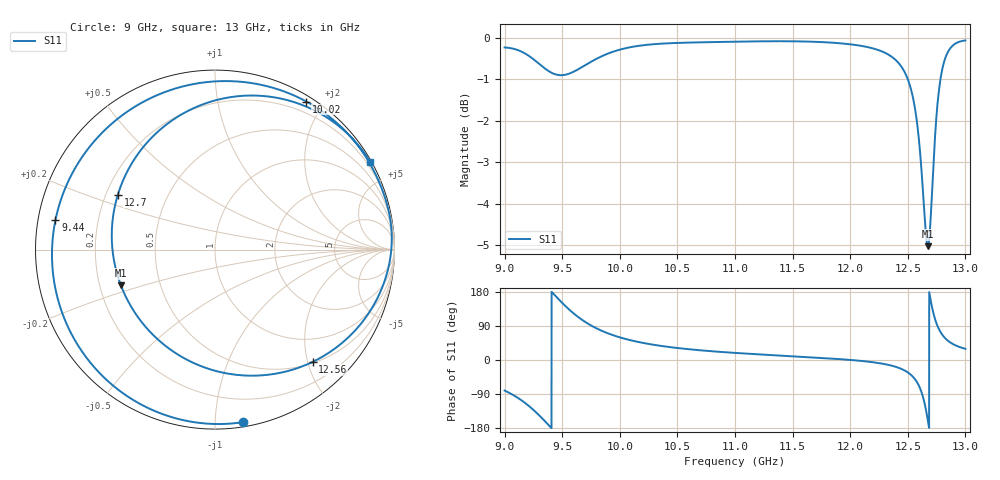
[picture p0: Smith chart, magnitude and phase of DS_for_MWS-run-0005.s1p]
! TOUCHSTONE file generated by CST DESIGN STUDIO
! Date and time: Tue Feb  4 16:48:22 2025
! Project name: C:\Work\MatlabApps\UnitCellOptimizationMatlab\CST\unitcell.cst
! Tree item: Tasks\Sweep1\SPara1\S-Parameters
! Header version: 2024
! Port assignment regex: !\s*Touchstone port\s*([0-9]+)\s*=\s*(CST MWS port|CST DES external port|CST DES block port)\s*(.+)\s* \(\"(.*)\"\)(\s*mode\s*([0-9]+))?.*
! Touchstone port assignment:
! Touchstone port 1 = CST DES external port 1 ("")
# GHz S MA R 50
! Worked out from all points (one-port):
!   4001 points, 9 GHz to 13 GHz, reference 50 ohm
!   lowest |S11| = -5.0 dB at 12.67 GHz (marker M1), VSWR 3.55, Z = 14.5 - j8.38 ohm
!   |S11| at or under -10 dB: nowhere
!   S11 on the Smith chart (normalised r, x): 9 GHz: 0.03, -1.18; 9.44 GHz: 0.05, +0.09; 10.02 GHz: 0.07, +1.79; 12.56 GHz: 0.52, -2.09; 12.7 GHz: 0.25, +0.25; 13 GHz: 0.05, +3.79
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9  0.974 -80.6
9.123  0.966 -101.5
9.221  0.9493 -124.0
9.341  0.9207 -158.6
9.44  0.904 169.5
9.5  0.9018 150.7
9.595  0.91 124.0
9.697  0.9267 101.0
9.844  0.9506 76.9
10  0.9681 59.7
10.016  0.9694 58.3
10.226  0.9809 43.7
10.5  0.9863 31.6
11  0.9897 18.7
11.5  0.9908 9.9
12  0.9826 0.2
12.309  0.9586 -11.4
12.5  0.8917 -32.7
12.558  0.8291 -49.0
12.626  0.6707 -91.3
12.65  0.5975 -120.1
12.674  0.5608 -159.3
12.703  0.622 150.4
12.737  0.7621 107.4
12.774  0.8722 79.4
12.814  0.9347 61.0
12.86  0.968 48.1
13  0.9931 29.5
